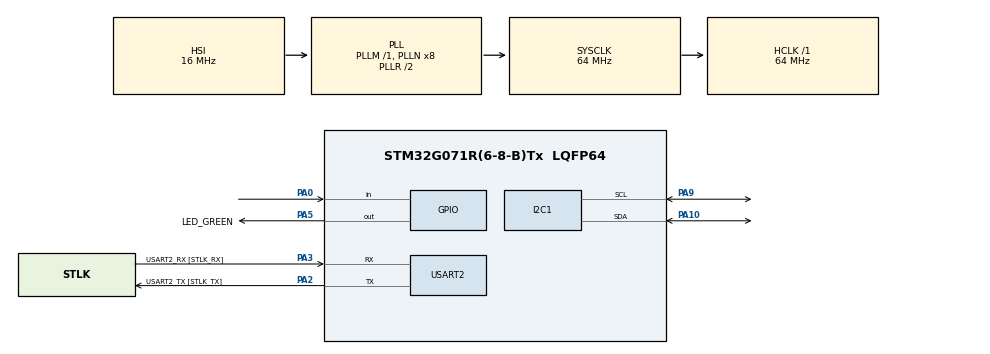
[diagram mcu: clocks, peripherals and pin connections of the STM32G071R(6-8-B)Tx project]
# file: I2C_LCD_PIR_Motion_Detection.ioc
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I2C1.Timing=0x10B17DB5
Mcu.Family=STM32G0
Mcu.Name=STM32G071R(6-8-B)Tx
Mcu.Package=LQFP64
PA0.Signal=GPIO_Input
PA10.Mode=I2C
PA10.Signal=I2C1_SDA
PA13.GPIO_Label=TMS
PA13.Mode=Serial_Wire
PA13.Signal=SYS_SWDIO
PA14-BOOT0.GPIO_Label=TCK
PA14-BOOT0.Mode=Serial_Wire
PA14-BOOT0.Signal=SYS_SWCLK
PA2.GPIO_Label=USART2_TX [STLK_TX]
PA2.GPIO_PuPd=GPIO_PULLUP
PA2.Mode=Asynchronous
PA2.Signal=USART2_TX
PA3.GPIO_Label=USART2_RX [STLK_RX]
PA3.GPIO_PuPd=GPIO_PULLUP
PA3.Mode=Asynchronous
PA3.Signal=USART2_RX
PA5.GPIO_Label=LED_GREEN
PA5.GPIO_Speed=GPIO_SPEED_FREQ_HIGH
PA5.Signal=GPIO_Output
PA9.Mode=I2C
PA9.Signal=I2C1_SCL
PC13.Mode=SYS_WakeUp1
PC13.Signal=SYS_WKUP2
PC14-OSC32_IN\ (PC14).Mode=LSE-External-Oscillator
PC14-OSC32_IN\ (PC14).Signal=RCC_OSC32_IN
PC15-OSC32_OUT\ (PC15).Mode=LSE-External-Oscillator
PC15-OSC32_OUT\ (PC15).Signal=RCC_OSC32_OUT
PF0-OSC_IN\ (PF0).GPIO_Label=MCO
PF0-OSC_IN\ (PF0).Mode=HSE-External-Oscillator
PF0-OSC_IN\ (PF0).Signal=RCC_OSC_IN
PF1-OSC_OUT\ (PF1).Mode=HSE-External-Oscillator
PF1-OSC_OUT\ (PF1).Signal=RCC_OSC_OUT
ProjectManager.HeapSize=0x200
ProjectManager.StackSize=0x400
ProjectManager.TargetToolchain=STM32CubeIDE
RCC.ADCFreq_Value=64000000
RCC.AHBFreq_Value=64000000
RCC.CortexFreq_Value=64000000
RCC.EXTERNAL_CLOCK_VALUE=12288000
RCC.HCLKFreq_Value=64000000
RCC.HSE_VALUE=8000000
RCC.HSI_VALUE=16000000
RCC.SYSCLKFreq_VALUE=64000000
RCC.SYSCLKSource=RCC_SYSCLKSOURCE_PLLCLK
RCC.VCOOutputFreq_Value=128000000
USART2.VirtualMode-Asynchronous=VM_ASYNC
board=NUCLEO-G071RB

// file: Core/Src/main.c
/* USER CODE BEGIN Header */
/**
  ******************************************************************************
  * @file           : main.c
  * @brief          : Main program body
  ******************************************************************************
  * @attention
  *
  * Copyright (c) 2026 STMicroelectronics.
  * All rights reserved.
  *
  * This software is licensed under terms that can be found in the LICENSE file
  * in the root directory of this software component.
  * If no LICENSE file comes with this software, it is provided AS-IS.
  *
  ******************************************************************************
  */
/* USER CODE END Header */
#include "main.h"

/* USER CODE BEGIN Includes */
#include "I2C_LCD.h"
#include "stdio.h"
/* USER CODE END Includes */

/* USER CODE BEGIN PD */
#define lcd_1 I2C_LCD_1
/* USER CODE END PD */

I2C_HandleTypeDef hi2c1;

UART_HandleTypeDef huart2;

/* USER CODE BEGIN PV */

uint32_t last_time=0;

/* USER CODE END PV */

void SystemClock_Config(void);
static void MX_GPIO_Init(void);
static void MX_USART2_UART_Init(void);
static void MX_I2C1_Init(void);

int main(void)
{

  /* MCU Configuration--------------------------------------------------------*/

  /* Reset of all peripherals, Initializes the Flash interface and the Systick. */
  HAL_Init();

  /* Configure the system clock */
  SystemClock_Config();

  /* Initialize all configured peripherals */
  MX_GPIO_Init();
  MX_USART2_UART_Init();
  MX_I2C1_Init();
  /* USER CODE BEGIN 2 */
  I2C_LCD_Init(lcd_1);

  I2C_LCD_SetCursor(lcd_1,0,0);
  I2C_LCD_WriteString(lcd_1,"Initializing..");
  HAL_Delay(2000);
  I2C_LCD_Clear(lcd_1);
  I2C_LCD_WriteString(lcd_1,"Initialized!");
  HAL_Delay(1000);
  I2C_LCD_Clear(lcd_1);
  /* USER CODE END 2 */

  /* Infinite loop */
  /* USER CODE BEGIN WHILE */
  while (1)
  {

	  if(HAL_GPIO_ReadPin(GPIOA,GPIO_PIN_0)){

		  if(HAL_GetTick()-last_time>=1000){
			  I2C_LCD_SetCursor(lcd_1,0,0);
			  I2C_LCD_WriteString(lcd_1,"Detected ");

			  last_time=HAL_GetTick();
		  }

	  }

	  else {
		  I2C_LCD_SetCursor(lcd_1,0,0);
		  I2C_LCD_WriteString(lcd_1,"All clear");
	  }

    /* USER CODE END WHILE */

  }
}

void SystemClock_Config(void)
{
  RCC_OscInitTypeDef RCC_OscInitStruct = {0};
  RCC_ClkInitTypeDef RCC_ClkInitStruct = {0};

  /** Configure the main internal regulator output voltage
  */
  HAL_PWREx_ControlVoltageScaling(PWR_REGULATOR_VOLTAGE_SCALE1);

  /** Initializes the RCC Oscillators according to the specified parameters
  * in the RCC_OscInitTypeDef structure.
  */
  RCC_OscInitStruct.OscillatorType = RCC_OSCILLATORTYPE_HSI;
  RCC_OscInitStruct.HSIState = RCC_HSI_ON;
  RCC_OscInitStruct.HSIDiv = RCC_HSI_DIV1;
  RCC_OscInitStruct.HSICalibrationValue = RCC_HSICALIBRATION_DEFAULT;
  RCC_OscInitStruct.PLL.PLLState = RCC_PLL_ON;
  RCC_OscInitStruct.PLL.PLLSource = RCC_PLLSOURCE_HSI;
  RCC_OscInitStruct.PLL.PLLM = RCC_PLLM_DIV1;
  RCC_OscInitStruct.PLL.PLLN = 8;
  RCC_OscInitStruct.PLL.PLLP = RCC_PLLP_DIV2;
  RCC_OscInitStruct.PLL.PLLQ = RCC_PLLQ_DIV2;
  RCC_OscInitStruct.PLL.PLLR = RCC_PLLR_DIV2;
  if (HAL_RCC_OscConfig(&RCC_OscInitStruct) != HAL_OK)
  {
    Error_Handler();
  }

  /** Initializes the CPU, AHB and APB buses clocks
  */
  RCC_ClkInitStruct.ClockType = RCC_CLOCKTYPE_HCLK|RCC_CLOCKTYPE_SYSCLK
                              |RCC_CLOCKTYPE_PCLK1;
  RCC_ClkInitStruct.SYSCLKSource = RCC_SYSCLKSOURCE_PLLCLK;
  RCC_ClkInitStruct.AHBCLKDivider = RCC_SYSCLK_DIV1;
  RCC_ClkInitStruct.APB1CLKDivider = RCC_HCLK_DIV1;

  if (HAL_RCC_ClockConfig(&RCC_ClkInitStruct, FLASH_LATENCY_2) != HAL_OK)
  {
    Error_Handler();
  }
}

static void MX_I2C1_Init(void)
{

  hi2c1.Instance = I2C1;
  hi2c1.Init.Timing = 0x10B17DB5;
  hi2c1.Init.OwnAddress1 = 0;
  hi2c1.Init.AddressingMode = I2C_ADDRESSINGMODE_7BIT;
  hi2c1.Init.DualAddressMode = I2C_DUALADDRESS_DISABLE;
  hi2c1.Init.OwnAddress2 = 0;
  hi2c1.Init.OwnAddress2Masks = I2C_OA2_NOMASK;
  hi2c1.Init.GeneralCallMode = I2C_GENERALCALL_DISABLE;
  hi2c1.Init.NoStretchMode = I2C_NOSTRETCH_DISABLE;
  if (HAL_I2C_Init(&hi2c1) != HAL_OK)
  {
    Error_Handler();
  }

  /** Configure Analogue filter
  */
  if (HAL_I2CEx_ConfigAnalogFilter(&hi2c1, I2C_ANALOGFILTER_ENABLE) != HAL_OK)
  {
    Error_Handler();
  }

  /** Configure Digital filter
  */
  if (HAL_I2CEx_ConfigDigitalFilter(&hi2c1, 0) != HAL_OK)
  {
    Error_Handler();
  }

}

static void MX_USART2_UART_Init(void)
{

  huart2.Instance = USART2;
  huart2.Init.BaudRate = 115200;
  huart2.Init.WordLength = UART_WORDLENGTH_8B;
  huart2.Init.StopBits = UART_STOPBITS_1;
  huart2.Init.Parity = UART_PARITY_NONE;
  huart2.Init.Mode = UART_MODE_TX_RX;
  huart2.Init.HwFlowCtl = UART_HWCONTROL_NONE;
  huart2.Init.OverSampling = UART_OVERSAMPLING_16;
  huart2.Init.OneBitSampling = UART_ONE_BIT_SAMPLE_DISABLE;
  huart2.Init.ClockPrescaler = UART_PRESCALER_DIV1;
  huart2.AdvancedInit.AdvFeatureInit = UART_ADVFEATURE_NO_INIT;
  if (HAL_UART_Init(&huart2) != HAL_OK)
  {
    Error_Handler();
  }
  if (HAL_UARTEx_SetTxFifoThreshold(&huart2, UART_TXFIFO_THRESHOLD_1_8) != HAL_OK)
  {
    Error_Handler();
  }
  if (HAL_UARTEx_SetRxFifoThreshold(&huart2, UART_RXFIFO_THRESHOLD_1_8) != HAL_OK)
  {
    Error_Handler();
  }
  if (HAL_UARTEx_DisableFifoMode(&huart2) != HAL_OK)
  {
    Error_Handler();
  }

}

static void MX_GPIO_Init(void)
{
  GPIO_InitTypeDef GPIO_InitStruct = {0};

  /* GPIO Ports Clock Enable */
  __HAL_RCC_GPIOC_CLK_ENABLE();
  __HAL_RCC_GPIOF_CLK_ENABLE();
  __HAL_RCC_GPIOA_CLK_ENABLE();

  /*Configure GPIO pin Output Level */
  HAL_GPIO_WritePin(LED_GREEN_GPIO_Port, LED_GREEN_Pin, GPIO_PIN_RESET);

  /*Configure GPIO pin : PA0 */
  GPIO_InitStruct.Pin = GPIO_PIN_0;
  GPIO_InitStruct.Mode = GPIO_MODE_INPUT;
  GPIO_InitStruct.Pull = GPIO_NOPULL;
  HAL_GPIO_Init(GPIOA, &GPIO_InitStruct);

  /*Configure GPIO pin : LED_GREEN_Pin */
  GPIO_InitStruct.Pin = LED_GREEN_Pin;
  GPIO_InitStruct.Mode = GPIO_MODE_OUTPUT_PP;
  GPIO_InitStruct.Pull = GPIO_NOPULL;
  GPIO_InitStruct.Speed = GPIO_SPEED_FREQ_HIGH;
  HAL_GPIO_Init(LED_GREEN_GPIO_Port, &GPIO_InitStruct);

}

void Error_Handler(void)
{
  __disable_irq();
  while (1)
  {
  }
}
